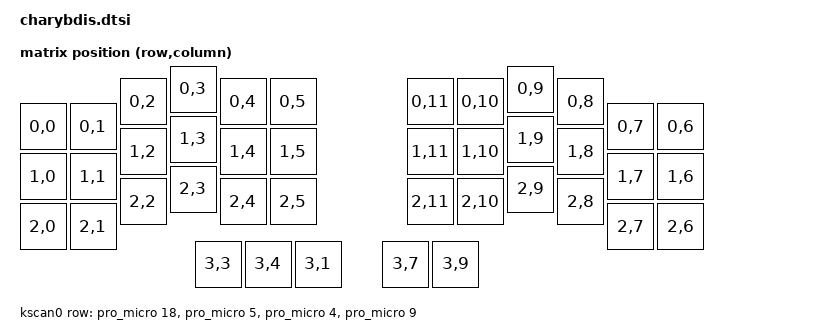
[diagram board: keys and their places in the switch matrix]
#include <dt-bindings/zmk/matrix_transform.h>
#include "physical_layouts.dtsi"

/ {
    charybdis_layout: charybdis_layout {
        compatible = "zmk,physical-layout";
        display-name = "charybdis";

        kscan = <&kscan0>;
        transform = <&matrix_transform0>;

		 keys  //                       w   h    x    y     rot   rx   ry
            = <&key_physical_attrs 100 100    0   75       0     0     0>
            , <&key_physical_attrs 100 100  100   75       0     0     0>
            , <&key_physical_attrs 100 100  200   25       0     0     0>
            , <&key_physical_attrs 100 100  300    0       0     0     0>
            , <&key_physical_attrs 100 100  400   25       0     0     0>
            , <&key_physical_attrs 100 100  500   25       0     0     0>
            , <&key_physical_attrs 100 100  775   25       0     0     0>
            , <&key_physical_attrs 100 100  875   25       0     0     0>
            , <&key_physical_attrs 100 100  975    0       0     0     0>
            , <&key_physical_attrs 100 100 1075   25       0     0     0>
            , <&key_physical_attrs 100 100 1175   75       0     0     0>
            , <&key_physical_attrs 100 100 1275   75       0     0     0>

            , <&key_physical_attrs 100 100    0  175       0     0     0>
            , <&key_physical_attrs 100 100  100  175       0     0     0>
            , <&key_physical_attrs 100 100  200  125       0     0     0>
            , <&key_physical_attrs 100 100  300  100       0     0     0>
            , <&key_physical_attrs 100 100  400  125       0     0     0>
            , <&key_physical_attrs 100 100  500  125       0     0     0>
            , <&key_physical_attrs 100 100  775  125       0     0     0>
            , <&key_physical_attrs 100 100  875  125       0     0     0>
            , <&key_physical_attrs 100 100  975  100       0     0     0>
            , <&key_physical_attrs 100 100 1075  125       0     0     0>
            , <&key_physical_attrs 100 100 1175  175       0     0     0>
            , <&key_physical_attrs 100 100 1275  175       0     0     0>

            , <&key_physical_attrs 100 100    0  275       0     0     0>
            , <&key_physical_attrs 100 100  100  275       0     0     0>
            , <&key_physical_attrs 100 100  200  225       0     0     0>
            , <&key_physical_attrs 100 100  300  200       0     0     0>
            , <&key_physical_attrs 100 100  400  225       0     0     0>
            , <&key_physical_attrs 100 100  500  225       0     0     0>
            , <&key_physical_attrs 100 100  775  225       0     0     0>
            , <&key_physical_attrs 100 100  875  225       0     0     0>
            , <&key_physical_attrs 100 100  975  200       0     0     0>
            , <&key_physical_attrs 100 100 1075  225       0     0     0>
            , <&key_physical_attrs 100 100 1175  275       0     0     0>
            , <&key_physical_attrs 100 100 1275  275       0     0     0>

            , <&key_physical_attrs 100 100  350  350       0     0     0>
            , <&key_physical_attrs 100 100  450  350       0     0     0>
            , <&key_physical_attrs 100 100  550  350       0     0     0>
            , <&key_physical_attrs 100 100  725  350       0     0     0>
            , <&key_physical_attrs 100 100  825  350       0     0     0>
            ;
    };

    chosen {
        zmk,kscan = &kscan0;
        zmk,physical-layout = &charybdis_layout;
    };


    default_transform: keymap_transform_0 {
		compatible = "zmk,matrix-transform";
        columns = <12>;
        rows = <4>;

        map = < 
			RC(0,0) RC(0,1) RC(0,2) RC(0,3) RC(0,4) RC(0,5)                  	RC(0,11) RC(0,10) RC(0,9) RC(0,8) RC(0,7) RC(0,6)
			RC(1,0) RC(1,1) RC(1,2) RC(1,3) RC(1,4) RC(1,5)                   	RC(1,11) RC(1,10) RC(1,9) RC(1,8) RC(1,7) RC(1,6)
			RC(2,0) RC(2,1) RC(2,2) RC(2,3) RC(2,4) RC(2,5)                   	RC(2,11) RC(2,10) RC(2,9) RC(2,8) RC(2,7) RC(2,6)
											RC(3,3) RC(3,4) RC(3,1)           	RC(3,7) RC(3,9)
		  
        >;
    };
	
    kscan0: kscan {
        compatible = "zmk,kscan-gpio-matrix";
        label = "KSCAN";

        diode-direction = "row2col";
		row-gpios
            = <&pro_micro 18 (GPIO_ACTIVE_HIGH)>
            , <&pro_micro 5 (GPIO_ACTIVE_HIGH)>
            , <&pro_micro 4 (GPIO_ACTIVE_HIGH)>
	   		, <&pro_micro 9 (GPIO_ACTIVE_HIGH)>
            ;
    };
};

&charybdis_layout{

	transform = <&default_transform>;

	kscan = <&kscan0>;

};
